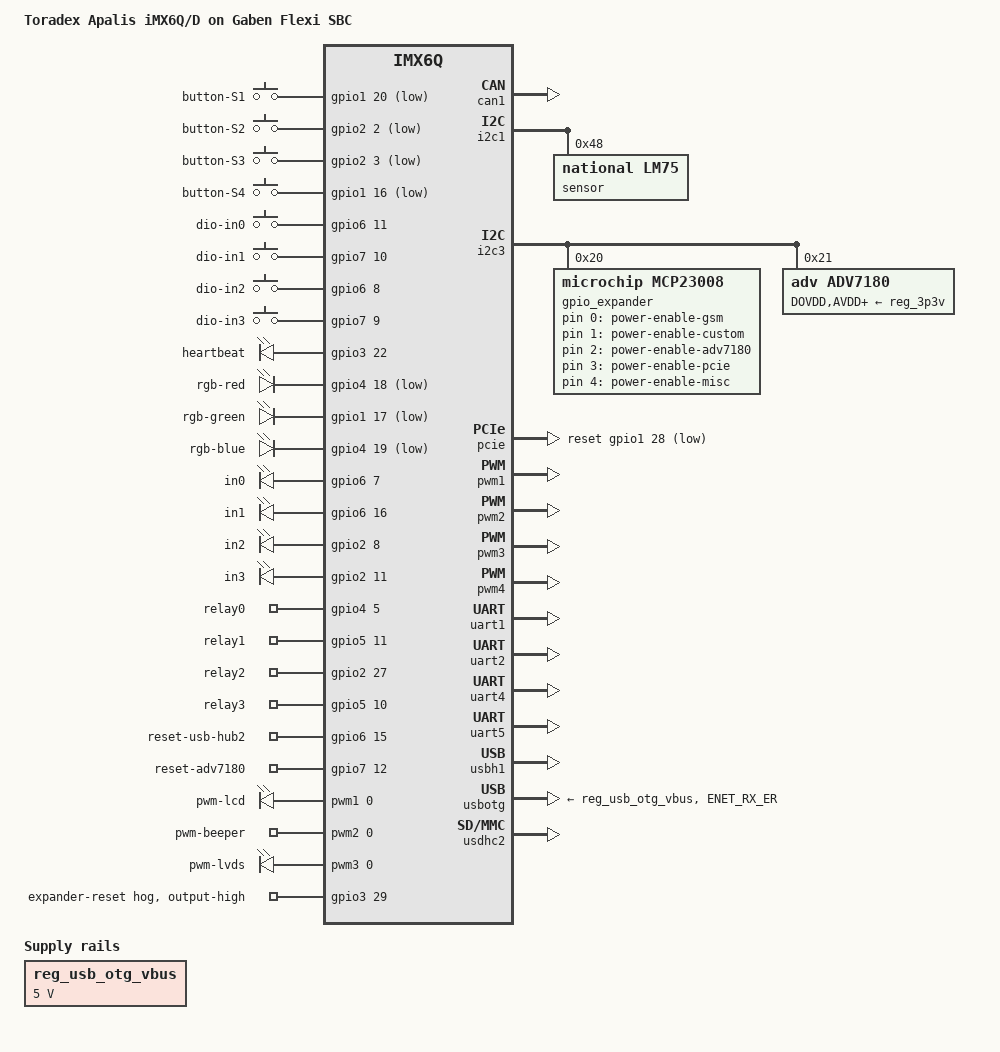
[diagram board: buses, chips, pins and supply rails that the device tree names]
/*
 * Copyright 2016 Gaben spol. s r.o.
 * Copyright 2011 Linaro Ltd.
 *
 * This file is dual-licensed: you can use it either under the terms
 * of the GPL or the X11 license, at your option. Note that this dual
 * licensing only applies to this file, and not this project as a
 * whole.
 *
 *  a) This file is free software; you can redistribute it and/or
 *     modify it under the terms of the GNU General Public License
 *     version 2 as published by the Free Software Foundation.
 *
 *     This file is distributed in the hope that it will be useful
 *     but WITHOUT ANY WARRANTY; without even the implied warranty of
 *     MERCHANTABILITY or FITNESS FOR A PARTICULAR PURPOSE.  See the
 *     GNU General Public License for more details.
 *
 * Or, alternatively
 *
 *  b) Permission is hereby granted, free of charge, to any person
 *     obtaining a copy of this software and associated documentation
 *     files (the "Software"), to deal in the Software without
 *     restriction, including without limitation the rights to use
 *     copy, modify, merge, publish, distribute, sublicense, and/or
 *     sell copies of the Software, and to permit persons to whom the
 *     Software is furnished to do so, subject to the following
 *     conditions:
 *
 *     The above copyright notice and this permission notice shall be
 *     included in all copies or substantial portions of the Software.
 *
 *     THE SOFTWARE IS PROVIDED , WITHOUT WARRANTY OF ANY KIND
 *     EXPRESS OR IMPLIED, INCLUDING BUT NOT LIMITED TO THE WARRANTIES
 *     OF MERCHANTABILITY, FITNESS FOR A PARTICULAR PURPOSE AND
 *     NONINFRINGEMENT. IN NO EVENT SHALL THE AUTHORS OR COPYRIGHT
 *     HOLDERS BE LIABLE FOR ANY CLAIM, DAMAGES OR OTHER LIABILITY
 *     WHETHER IN AN ACTION OF CONTRACT, TORT OR OTHERWISE, ARISING
 *     FROM, OUT OF OR IN CONNECTION WITH THE SOFTWARE OR THE USE OR
 *     OTHER DEALINGS IN THE SOFTWARE.
 */

/dts-v1/;

#include <dt-bindings/input/input.h>
#include <dt-bindings/interrupt-controller/irq.h>
#include "imx6q.dtsi"
#include "imx6qdl-apalis.dtsi"

/ {
	model = "Toradex Apalis iMX6Q/D on Gaben Flexi SBC";
	compatible = "toradex,apalis_imx6q-gaben-flexisbc", "toradex,apalis_imx6q", "fsl,imx6q";

	aliases {
		i2c0 = &i2cddc;
		i2c1 = &i2c1;
		i2c2 = &i2c2;
		i2c3 = &i2c3;
	};

	aliases {
		rtc0 = &snvs_rtc;
	};

	gpio-keys {
		compatible = "gpio-keys";
		pinctrl-names = "default";
		pinctrl-0 = <&pinctrl_gpio_keys>;

		/* S1-S4 buttons on top board under LCD */
		S1 {
			label = "button-S1";
			gpios = <&gpio1 20 GPIO_ACTIVE_LOW>;
			linux,code = <BTN_A>;
			debounce-interval = <10>;
		};

		S2 {
			label = "button-S2";
			gpios = <&gpio2 2 GPIO_ACTIVE_LOW>;
			linux,code = <BTN_B>;
			debounce-interval = <10>;
		};

		S3 {
			label = "button-S3";
			gpios = <&gpio2 3 GPIO_ACTIVE_LOW>;
			linux,code = <BTN_C>;
			debounce-interval = <10>;
		};

		S4 {
			label = "button-S4";
			gpios = <&gpio1 16 GPIO_ACTIVE_LOW>;
			linux,code = <BTN_X>;
			debounce-interval = <10>;
		};

		/* IN0-IN3 digital inputs */
		IN0 {
			label = "dio-in0";
			gpios = <&gpio6 11 GPIO_ACTIVE_HIGH>;
			linux,code = <BTN_0>;
			debounce-interval = <10>;
		};

		IN1 {
			label = "dio-in1";
			gpios = <&gpio7 10 GPIO_ACTIVE_HIGH>;
			linux,code = <BTN_1>;
			debounce-interval = <10>;
		};

		IN2 {
			label = "dio-in2";
			gpios = <&gpio6 8 GPIO_ACTIVE_HIGH>;
			linux,code = <BTN_2>;
			debounce-interval = <10>;
		};

		IN3 {
			label = "dio-in3";
			gpios = <&gpio7 9 GPIO_ACTIVE_HIGH>;
			linux,code = <BTN_3>;
			debounce-interval = <10>;
		};
	};

	leds {
		compatible = "gpio-leds";
		pinctrl-names = "default";
		pinctrl-0 = <&pinctrl_gpio_leds>;

		heartbeat {
			label = "heartbeat";
			gpios = <&gpio3 22 GPIO_ACTIVE_HIGH>;
			default-state = "off";
		};

		rgb-r {
			label = "rgb-red";
			gpios = <&gpio4 18 GPIO_ACTIVE_LOW>;
			default-state = "off";
		};

		rgb-g {
			label = "rgb-green";
			gpios = <&gpio1 17 GPIO_ACTIVE_LOW>;
			default-state = "off";
		};

		rgb-b {
			label = "rgb-blue";
			gpios = <&gpio4 19 GPIO_ACTIVE_LOW>;
			default-state = "off";
		};

		led-in0 {
			label = "in0";
			gpios = <&gpio6 7 GPIO_ACTIVE_HIGH>;
			default-state = "off";
		};

		led-in1 {
			label = "in1";
			gpios = <&gpio6 16 GPIO_ACTIVE_HIGH>;
			default-state = "off";
		};

		led-in2 {
			label = "in2";
			gpios = <&gpio2 8 GPIO_ACTIVE_HIGH>;
			default-state = "off";
		};

		led-in3 {
			label = "in3";
			gpios = <&gpio2 11 GPIO_ACTIVE_HIGH>;
			default-state = "off";
		};

		/*
		 * TODO: For nodes bellow we're currently abusing LEDs, but we
		 * should fix it correctly with gpio-hog and automatic sysfs
		 * GPIO export so it could be used from userspace easily.
		 */

		relay0 {
			label = "relay0";
			gpios = <&gpio4 5 GPIO_ACTIVE_HIGH>;
			default-state = "off";
		};

		relay1 {
			label = "relay1";
			gpios = <&gpio5 11 GPIO_ACTIVE_HIGH>;
			default-state = "off";
		};

		relay2 {
			label = "relay2";
			gpios = <&gpio2 27 GPIO_ACTIVE_HIGH>;
			default-state = "off";
		};

		relay3 {
			label = "relay3";
			gpios = <&gpio5 10 GPIO_ACTIVE_HIGH>;
			default-state = "off";
		};

		/* USB HUB CY7C65632 reset, not connected currently */
		reset-usb-hub2 {
			label = "reset-usb-hub2";
			gpios = <&gpio6 15 GPIO_ACTIVE_HIGH>;
			linux,default-trigger = "default-on";
		};

		/* adv7180@i2c3 reset */
		reset-adv7180 {
			label = "reset-adv7180";
			gpios = <&gpio7 12 GPIO_ACTIVE_HIGH>;
			linux,default-trigger = "default-on";
		};

		power-enable-gsm {
			label = "power-enable-gsm";
			gpios = <&gpio_expander 0 GPIO_ACTIVE_HIGH>;
			linux,default-trigger = "default-on";
		};

		power-enable-custom {
			label = "power-enable-custom";
			gpios = <&gpio_expander 1 GPIO_ACTIVE_HIGH>;
			linux,default-trigger = "default-on";
		};

		/* adv7180@i2c3 power enable */
		power-enable-adv7180 {
			label = "power-enable-adv7180";
			gpios = <&gpio_expander 2 GPIO_ACTIVE_HIGH>;
			linux,default-trigger = "default-on";
		};

		power-enable-pcie {
			label = "power-enable-pcie";
			gpios = <&gpio_expander 3 GPIO_ACTIVE_HIGH>;
			linux,default-trigger = "default-on";
		};

		power-enable-misc {
			label = "power-enable-misc";
			gpios = <&gpio_expander 4 GPIO_ACTIVE_HIGH>;
			linux,default-trigger = "default-on";
		};
	};

	pwmleds {
		compatible = "pwm-leds";
		ledpwm1 {
			label = "pwm-lcd";
			pwms = <&pwm1 0 50000>;
			max-brightness = <255>;
		};

		ledpwm2 {
			label = "pwm-beeper";
			pwms = <&pwm2 0 488281>;
			max-brightness = <255>;
		};

		ledpwm3 {
			label = "pwm-lvds";
			pwms = <&pwm3 0 50000>;
			max-brightness = <255>;
		};
	};

	reg_usb_otg_vbus: usb_otg_vbus {
		status = "okay";

		compatible = "regulator-fixed";
		regulator-name = "usb_otg_vbus";
		regulator-min-microvolt = <5000000>;
		regulator-max-microvolt = <5000000>;
		regulator-always-on;
	};

	reg_usb_host_vbus: usb_host_vbus {
		status = "okay";
	};
};

&can1 {
	status = "okay";
};

&gpio3 {
	/* mcp23009@i2c3 reset */
	expander-reset {
		gpio-hog;
		gpios = <29 GPIO_ACTIVE_HIGH>;
		output-high;
		line-name = "expander-reset";
	};
};

&i2c1 {
	status = "okay";

	sensor: lm75@48 {
		compatible = "national,lm75";
		reg = <0x48>;
	};
};

&i2c3 {
	status = "okay";

	gpio_expander: mcp23009@20 {
		compatible = "microchip,mcp23008";
		gpio-controller;
		#gpio-cells = <2>;
		reg = <0x20>;
	};

	adv7180: adv7180@21 {
		compatible = "adv,adv7180";
		reg = <0x21>;
		pinctrl-names = "default";
		pinctrl-0 = <&pinctrl_ipu1_csi0>;
		clocks = <&clks 200>;
		clock-names = "csi_mclk";
		DOVDD-supply = <&reg_3p3v>; /* 3.3v */
		AVDD-supply = <&reg_3p3v>;  /* 1.8v */
		DVDD-supply = <&reg_3p3v>;  /* 1.8v */
		PVDD-supply = <&reg_3p3v>;  /* 1.8v */
		csi_id = <0>;
		mclk = <24000000>;
		mclk_source = <1>;
		cvbs = <1>;
		status = "okay";
	};
};

&iomuxc {
	/*
	 * Mux the Apalis GPIOs, GPIO7 used for PCIe reset,
	 * GPIO5, 6 used by optional fusion_F0710A kernel module
	 */
	pinctrl-names = "default";
	pinctrl-0 = <&pinctrl_apalis_gpio1 &pinctrl_apalis_gpio2
		     &pinctrl_apalis_gpio3 &pinctrl_apalis_gpio4
		     &pinctrl_apalis_gpio5 &pinctrl_apalis_gpio6
		     &pinctrl_apalis_gpio7 &pinctrl_apalis_gpio8
		     &pinctrl_rs485_dr &pinctrl_misc_gpio>;

	gpio {
		pinctrl_gpio_keys: gpio_keys {
			fsl,pins = <
				MX6QDL_PAD_SD1_CLK__GPIO1_IO20		0x1b0b0	/* BTN0 */
				MX6QDL_PAD_NANDF_D2__GPIO2_IO02		0x1b0b0 /* BTN1 */
				MX6QDL_PAD_NANDF_D3__GPIO2_IO03		0x1b0b0 /* BTN2 */
				MX6QDL_PAD_SD1_DAT0__GPIO1_IO16		0x1b0b0 /* BTN3 */
				>;
		};

		pinctrl_rs485_dr: rs_485_dr {
			fsl,pins = <
				MX6QDL_PAD_EIM_WAIT__GPIO5_IO00		0x130b0	/* 485-DR */
				>;
		};

		pinctrl_misc_gpio: misc_gpio {
			fsl,pins = <
				MX6QDL_PAD_EIM_DA14__GPIO3_IO14		0x130b0 /* LVDS-BLK_PWM */
				MX6QDL_PAD_SD1_DAT2__GPIO1_IO19		0x130b0 /* CS_PCIE */
				MX6QDL_PAD_SD1_DAT3__GPIO1_IO21		0x130b0	/* RING */
				MX6QDL_PAD_NANDF_D0__GPIO2_IO00		0x130b0	/* WDIS */
				MX6QDL_PAD_SD1_CMD__GPIO1_IO18		0x130b0	/* PERST */
				MX6QDL_PAD_NANDF_CS2__GPIO6_IO15	0x130b0 /* RHUB */
				>;
		};

		pinctrl_gpio_leds: gpio_leds {
			fsl,pins = <
				MX6QDL_PAD_EIM_D22__GPIO3_IO22 		0x130b0 /* Heartbeat LED */

				MX6QDL_PAD_DI0_PIN2__GPIO4_IO18		0x1b0b0	/* RGB-R */
				MX6QDL_PAD_SD1_DAT1__GPIO1_IO17		0x1b0b0	/* RGB-G */
				MX6QDL_PAD_DI0_PIN3__GPIO4_IO19		0x1b0b0	/* RGB-B */

				MX6QDL_PAD_NANDF_CLE__GPIO6_IO07	0x130b0	/* LED-IN0 */
				MX6QDL_PAD_NANDF_CS3__GPIO6_IO16	0x130b0 /* LED-IN1 */
				MX6QDL_PAD_SD4_DAT0__GPIO2_IO08		0x130b0	/* LED-IN2 */
				MX6QDL_PAD_SD4_DAT3__GPIO2_IO11		0x130b0	/* LED-IN3 */

				MX6QDL_PAD_GPIO_19__GPIO4_IO05		0x130b0	/* RELAY0 */
				MX6QDL_PAD_DISP0_DAT17__GPIO5_IO11	0x130b0	/* RELAY1 */
				MX6QDL_PAD_EIM_LBA__GPIO2_IO27		0x130b0	/* RELAY2 */
				MX6QDL_PAD_DISP0_DAT16__GPIO5_IO10	0x130b0	/* RELAY3 */
				>;
		};
	};

	usbotg {
		pinctrl_usbotg: usbotggrp {
			fsl,pins = <
				MX6QDL_PAD_ENET_RX_ER__USB_OTG_ID 0x17059
			>;
		};
	};

	usdhc {
		/* GPIO4_IO20 is LVDS */
		pinctrl_mmc_cd: gpio_mmc_cd {
		};

		/* Used as misc GPIOs */
		pinctrl_usdhc1: usdhc1grp {
		};
	};
};

&ldb {
	status = "disabled";
};

&sata {
	status = "disabled";
};

&pcie {
	reset-gpio = <&gpio1 28 GPIO_ACTIVE_LOW>;
	status = "okay";
};

&pwm1 {
	status = "okay";
};

&pwm2 {
	status = "okay";
};

&pwm3 {
	status = "okay";
};

&pwm4 {
	status = "okay";
};

&uart1 {
	status = "okay";
};

&uart2 {
	status = "okay";
};

&uart4 {
	status = "okay";
};

&uart5 {
	status = "okay";
};

&usbh1 {
	status = "okay";
};

&usbotg {
	vbus-supply = <&reg_usb_otg_vbus>;
	pinctrl-names = "default";
	pinctrl-0 = <&pinctrl_usbotg>;
	disable-over-current;
	status = "okay";
};

/* SD1 */
&usdhc2 {
	status = "okay";
};
